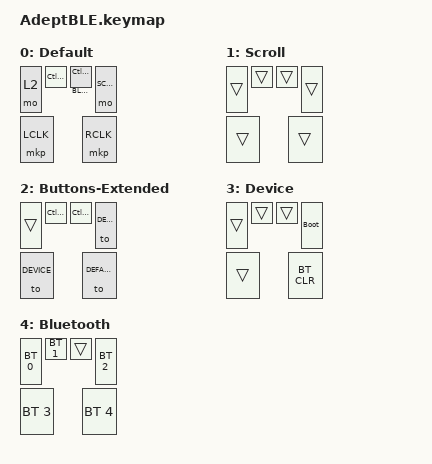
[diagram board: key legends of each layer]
#include <dt-bindings/zmk/mouse.h>
#include <behaviors.dtsi>
#include <dt-bindings/zmk/bt.h>
#include <dt-bindings/zmk/keys.h>
#include <dt-bindings/zmk/pointing.h>

// #include <dt-bindings/zmk/mouse.h>

#define DEFAULT 0
#define SCRL 1
#define EXTD 2
#define DEVICE 3
#define BLTH 4

/ {
    combos {
        compatible = "zmk,combos";

        combo_esc {
            timeout-ms = <50>;
            key-positions = <2 3>;
            bindings = <&mkp RCLK>;
        };
    };

    behaviors {
        ltm: layer-tap-momentary {
            compatible = "zmk,behavior-hold-tap";
            #binding-cells = <2>;
            flavor = "tap-preferred";
            tapping-term-ms = <200>;
            bindings = <&mo>, <&mkp>;
        };

        ltk: layer-tap-keypress {
            compatible = "zmk,behavior-hold-tap";
            #binding-cells = <2>;
            flavor = "tap-preferred";
            tapping-term-ms = <200>;
            bindings = <&mo>, <&kp>;
        };

        lth: layer-tap-hold-while-undecided {
            compatible = "zmk,behavior-hold-tap";
            #binding-cells = <2>;
            flavor = "hold-preferred";
            hold-while-undecided;
            tapping-term-ms = <150>;
            bindings = <&mo>, <&mkp>;
        };

        mto: momentary-or-toggle {
            compatible = "zmk,behavior-hold-tap";
            #binding-cells = <2>;
            flavor = "hold-preferred";
            hold-while-undecided;
            tapping-term-ms = <200>;
            bindings = <&mo>, <&to>;
        };
    };

    keymap {
        compatible = "zmk,keymap";

        default_layer {
            display-name = "Default";
            bindings = <
&mo 2      &kp LC(LEFT)  &ltk BLTH LC(RIGHT)  &mo SCRL
&mkp LCLK                                     &mkp RCLK
            >;
        };

        scroll_layer {
            display-name = "Scroll";
            bindings = <
&trans  &trans  &trans  &trans
&trans                  &trans
            >;
        };

        extra_button_layer {
            display-name = "Buttons-Extended";
            bindings = <
&trans      &kp LC(UP_ARROW)  &kp LC(DOWN)  &to DEFAULT
&to DEVICE                                  &to DEFAULT
            >;
        };

        device_layer {
            display-name = "Device";
            bindings = <
&trans  &trans  &trans  &bootloader
&trans                  &bt BT_CLR
            >;
        };

        bluetooth_layer {
            display-name = "Bluetooth";
            bindings = <
&bt BT_SEL 0  &bt BT_SEL 1  &trans  &bt BT_SEL 2
&bt BT_SEL 3                        &bt BT_SEL 4
            >;
        };
    };
};
